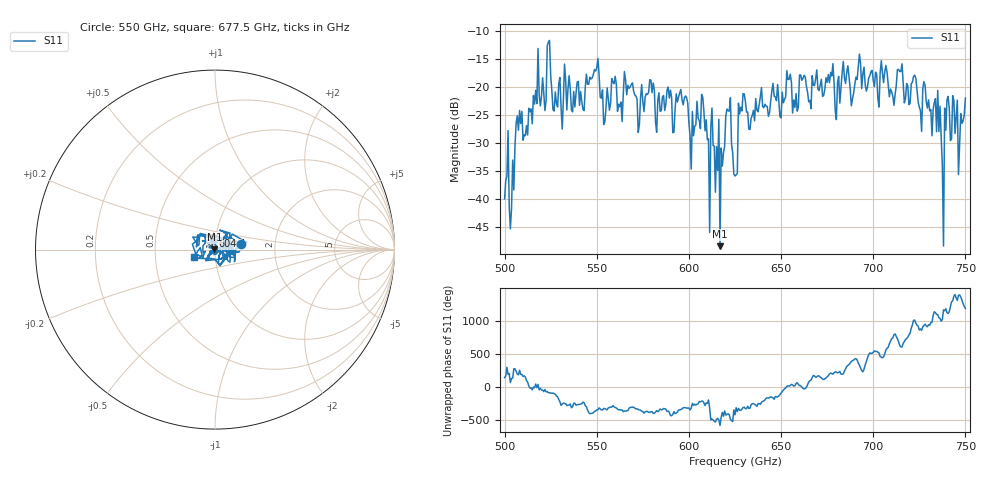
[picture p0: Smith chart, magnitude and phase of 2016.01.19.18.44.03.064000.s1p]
!Created with skrf (http://scikit-rf.org).
# GHz S RI R 50.0
!freq ReS11 ImS11
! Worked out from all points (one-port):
!   401 points, 500 GHz to 750 GHz, reference 50 ohm
!   lowest |S11| = -48.4 dB at 616.9 GHz (marker M1), VSWR 1.01, Z = 49.7 + j0.26 ohm
!   |S11| at or under -10 dB: start of sweep to end of sweep
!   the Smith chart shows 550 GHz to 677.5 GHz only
!   S11 on the Smith chart (normalised r, x): 550 GHz: 1.34, +0.09; 604.4 GHz: 0.97, +0.14; 677.5 GHz: 0.79, -0.06
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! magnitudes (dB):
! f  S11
! 500 GHz  -39.9
! 503.8 GHz  -41.7
! 507.5 GHz  -27.7
! 511.2 GHz  -28.6
! 524.4 GHz  -11.7
! 526.9 GHz  -24.3
! 531.2 GHz  -27.5
! 550 GHz  -16.5
! 553.8 GHz  -26.7
! 559.4 GHz  -19.4
! 562.5 GHz  -23.5
! 566.2 GHz  -21.4
! 593.8 GHz  -22.7
! 604.4 GHz  -22.5
! 616.9 GHz  -48.4
! 621.2 GHz  -24.2
! 625 GHz  -35.8
! 629.4 GHz  -21.1
! 656.2 GHz  -24.6
! 677.5 GHz  -18.0
! 687.5 GHz  -20.3
! 714.4 GHz  -17.2
! 718.8 GHz  -19.8
! 733.8 GHz  -22.1
! 736.9 GHz  -29.0
! 740 GHz  -22.3
! 747.5 GHz  -24.7
! 750 GHz  -22.0
